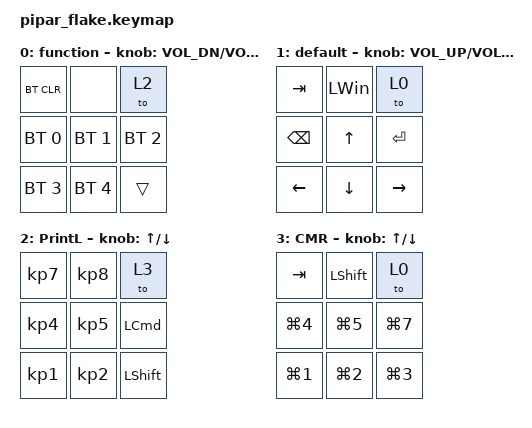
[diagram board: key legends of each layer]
/*
 * Copyright (c) 2022 The ZMK Contributors
 *
 * SPDX-License-Identifier: MIT
 */

#include <behaviors.dtsi>
#include <dt-bindings/zmk/bt.h>
#include <dt-bindings/zmk/keys.h>

#define BASE        0
#define FUNC        1

/ {
    sensors: sensors {
        compatible = "zmk,keymap-sensors";
        sensors = <&encoder_1>;
        triggers-per-rotation = <24>;
    };

    keymap {
        compatible = "zmk,keymap";

        function_layer {
            // --------------------------- //
            // | BT_CLR | none | ENCODER | //
            // | BT_0   | BT_1 | BT_2    | //
            // | BT_3   | BT_4 | trans   | //

            display-name = "function";
            bindings = <
&bt BT_CLR    &none         &to 2
&bt BT_SEL 0  &bt BT_SEL 1  &bt BT_SEL 2
&bt BT_SEL 3  &bt BT_SEL 4  &trans
            >;

            sensor-bindings = <&inc_dec_kp C_VOL_DN C_VOL_UP>;
        };

        default_layer {
            // ---------------------------//
            // | Q    | W     | ENCODER | //
            // | A    | S     | D       | //
            // | Z    | X     | FN      | //

            display-name = "default";
            bindings = <
&kp TAB         &kp LEFT_WIN    &to 0
&kp BACKSPACE   &kp UP_ARROW    &kp ENTER
&kp LEFT_ARROW  &kp DOWN_ARROW  &kp RIGHT_ARROW
            >;

            sensor-bindings = <&inc_dec_kp C_VOLUME_UP C_VOLUME_DOWN>;
        };

        PrintL {
            bindings = <
&kp KP_NUMBER_7  &kp KP_NUMBER_8  &to 3
&kp KP_NUMBER_4  &kp KP_NUMBER_5  &kp LEFT_COMMAND
&kp KP_NUMBER_1  &kp KP_NUMBER_2  &kp LEFT_SHIFT
            >;

            sensor-bindings = <&inc_dec_kp UP_ARROW DOWN_ARROW>;
        };

        CMR {
            bindings = <
&kp TAB           &kp LEFT_SHIFT    &to 0
&kp LG(NUMBER_4)  &kp LG(N5)        &kp LG(N7)
&kp LG(NUMBER_1)  &kp LG(NUMBER_2)  &kp LG(NUMBER_3)
            >;

            sensor-bindings = <&inc_dec_kp UP_ARROW DOWN_ARROW>;
        };
    };
};
